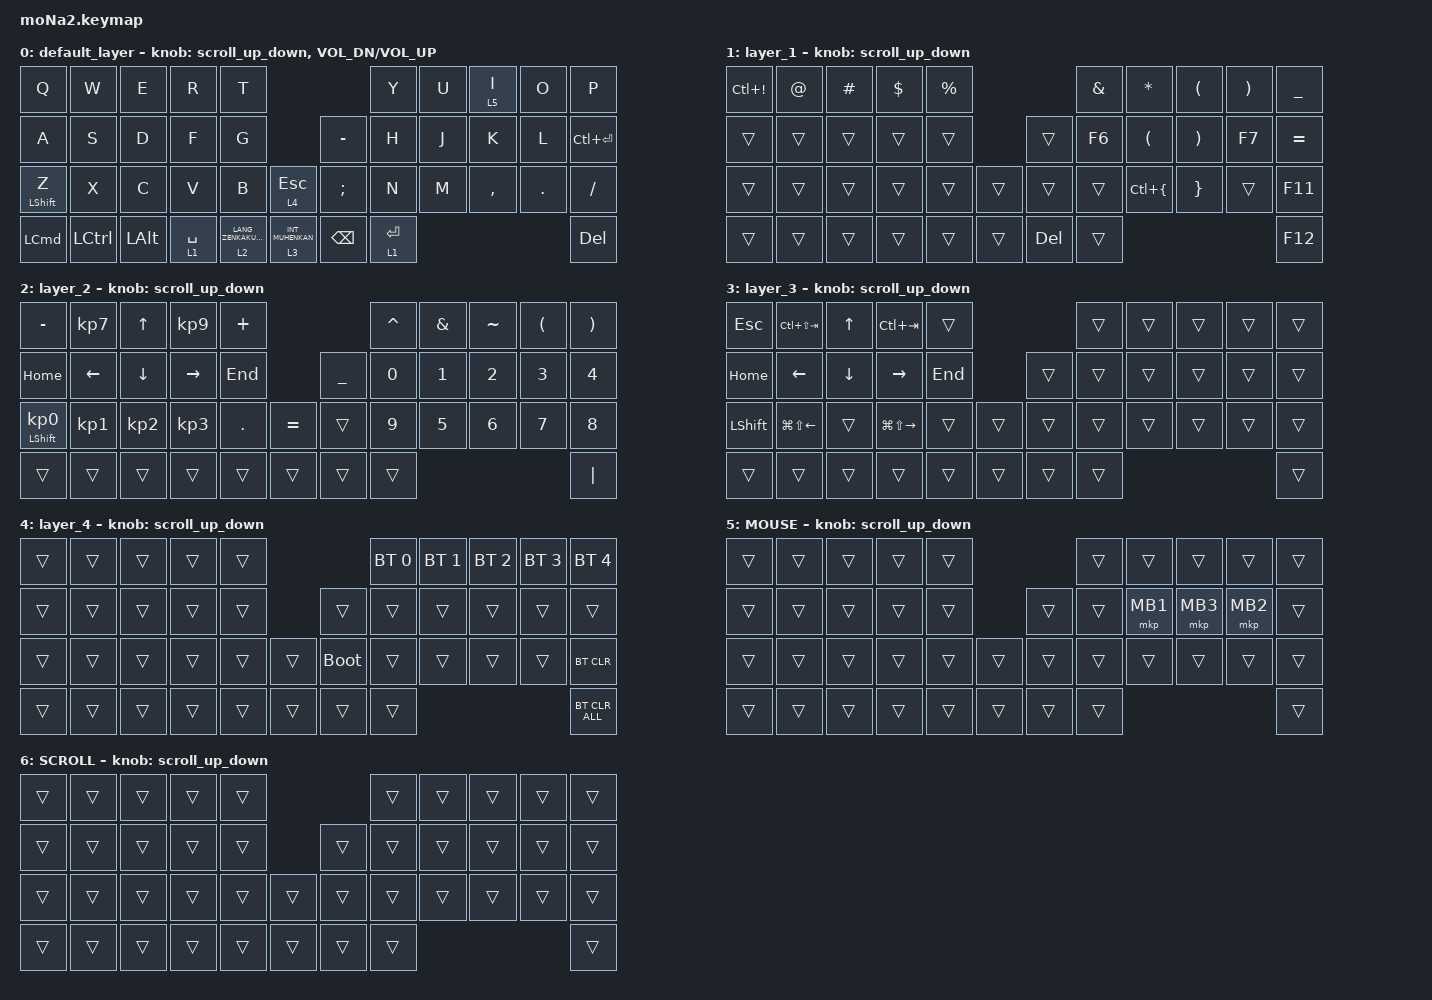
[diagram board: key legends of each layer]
#include <behaviors.dtsi>
#include <dt-bindings/zmk/bt.h>
#include <dt-bindings/zmk/keys.h>
#include <dt-bindings/zmk/pointing.h>

#define ZMK_POINTING_DEFAULT_SCRL_VAL 100
#define MOUSE 5
#define SCROLL 6

&mt {
    flavor = "balanced";
    quick-tap-ms = <0>;
};

/ {
    combos { compatible = "zmk,combos"; };

    macros {
        to_layer_0: to_layer_0 {
            compatible = "zmk,behavior-macro-one-param";
            #binding-cells = <1>;
            bindings = <&to 0 &macro_param_1to1 &kp MACRO_PLACEHOLDER>;
            label = "TO_LAYER_0";
        };
    };

    behaviors {
        lt_to_layer_0: lt_to_layer_0 {
            compatible = "zmk,behavior-hold-tap";
            label = "LAYER_TAP_TO_0";
            bindings = <&mo>, <&to_layer_0>;

            #binding-cells = <2>;
            tapping-term-ms = <200>;
        };

        scroll_up_down: behavior_sensor_rotate_mouse_wheel_up_down {
            compatible = "zmk,behavior-sensor-rotate";
            #sensor-binding-cells = <0>;
            bindings = <&msc SCRL_UP>, <&msc SCRL_DOWN>;

            tap-ms = <20>;
        };
    };

    keymap {
        compatible = "zmk,keymap";

        default_layer {
            bindings = <
&kp Q             &kp W             &kp E         &kp R        &kp T                                                           &kp Y        &kp U  &lt 5 I    &kp O    &kp P
&kp A             &kp S             &kp D         &kp F        &kp G                                            &kp MINUS      &kp H        &kp J  &kp K      &kp L    &kp LC(ENTER)
&mt LEFT_SHIFT Z  &kp X             &kp C         &kp V        &kp B                      &lt 4 ESCAPE          &kp SEMICOLON  &kp N        &kp M  &kp COMMA  &kp DOT  &kp SLASH
&kp LEFT_COMMAND  &kp LEFT_CONTROL  &kp LEFT_ALT  &lt 1 SPACE  &lt 2 LANG_ZENKAKUHANKAKU  &lt 3 INT_MUHENKAN    &kp BACKSPACE  &lt 1 ENTER                             &kp DEL
            >;

            sensor-bindings =
                <&scroll_up_down>,
                <&inc_dec_kp C_VOL_DN C_VOL_UP>;
        };

        layer_1 {
            bindings = <
&kp LC(EXCLAMATION)  &kp AT_SIGN  &kp HASH  &kp DOLLAR  &kp PERCENT                        &kp AMPERSAND  &kp ASTERISK          &kp LEFT_PARENTHESIS   &kp RIGHT_PARENTHESIS  &kp UNDERSCORE
&trans               &trans       &trans    &trans      &trans                 &trans      &kp F6         &kp LEFT_PARENTHESIS  &kp RIGHT_PARENTHESIS  &kp F7                 &kp EQUAL
&trans               &trans       &trans    &trans      &trans       &trans    &trans      &trans         &kp LC(LEFT_BRACE)    &kp RIGHT_BRACE        &trans                 &kp F11
&trans               &trans       &trans    &trans      &trans       &trans    &kp DELETE  &trans                                                                             &kp F12
            >;

            sensor-bindings = <&scroll_up_down>;
        };

        layer_2 {
            bindings = <
&kp MINUS                   &kp KP_NUMBER_7  &kp UP_ARROW     &kp KP_NUMBER_9  &kp PLUS                                 &kp CARET     &kp AMPERSAND  &kp TILDE     &kp LEFT_PARENTHESIS  &kp RIGHT_PARENTHESIS
&kp HOME                    &kp LEFT_ARROW   &kp DOWN_ARROW   &kp RIGHT_ARROW  &kp END                  &kp UNDERSCORE  &kp NUMBER_0  &kp NUMBER_1   &kp NUMBER_2  &kp NUMBER_3          &kp NUMBER_4
&mt LEFT_SHIFT KP_NUMBER_0  &kp KP_NUMBER_1  &kp KP_NUMBER_2  &kp KP_NUMBER_3  &kp PERIOD  &kp EQUAL    &trans          &kp NUMBER_9  &kp NUMBER_5   &kp NUMBER_6  &kp NUMBER_7          &kp NUMBER_8
&trans                      &trans           &trans           &trans           &trans      &trans       &trans          &trans                                                           &kp PIPE
            >;

            sensor-bindings = <&scroll_up_down>;
        };

        layer_3 {
            bindings = <
&kp ESCAPE      &kp LC(LS(TAB))         &kp UP_ARROW    &kp LC(TAB)              &trans                     &trans  &trans  &trans  &trans  &trans
&kp HOME        &kp LEFT_ARROW          &kp DOWN_ARROW  &kp RIGHT_ARROW          &kp END            &trans  &trans  &trans  &trans  &trans  &trans
&kp LEFT_SHIFT  &kp LG(LS(LEFT_ARROW))  &trans          &kp LG(LS(RIGHT_ARROW))  &trans   &trans    &trans  &trans  &trans  &trans  &trans  &trans
&trans          &trans                  &trans          &trans                   &trans   &trans    &trans  &trans                          &trans
            >;

            sensor-bindings = <&scroll_up_down>;
        };

        layer_4 {
            bindings = <
&trans  &trans  &trans  &trans  &trans                         &bt BT_SEL 0  &bt BT_SEL 1  &bt BT_SEL 2  &bt BT_SEL 3  &bt BT_SEL 4
&trans  &trans  &trans  &trans  &trans            &trans       &trans        &trans        &trans        &trans        &trans
&trans  &trans  &trans  &trans  &trans  &trans    &bootloader  &trans        &trans        &trans        &trans        &bt BT_CLR
&trans  &trans  &trans  &trans  &trans  &trans    &trans       &trans                                                  &bt BT_CLR_ALL
            >;

            sensor-bindings = <&scroll_up_down>;
        };

        MOUSE {
            bindings = <
&trans  &trans  &trans  &trans  &trans                    &trans  &trans    &trans    &trans    &trans
&trans  &trans  &trans  &trans  &trans            &trans  &trans  &mkp MB1  &mkp MB3  &mkp MB2  &trans
&trans  &trans  &trans  &trans  &trans  &trans    &trans  &trans  &trans    &trans    &trans    &trans
&trans  &trans  &trans  &trans  &trans  &trans    &trans  &trans                                &trans
            >;

            sensor-bindings = <&scroll_up_down>;
        };

        SCROLL {
            bindings = <
&trans  &trans  &trans  &trans  &trans                    &trans  &trans  &trans  &trans  &trans
&trans  &trans  &trans  &trans  &trans            &trans  &trans  &trans  &trans  &trans  &trans
&trans  &trans  &trans  &trans  &trans  &trans    &trans  &trans  &trans  &trans  &trans  &trans
&trans  &trans  &trans  &trans  &trans  &trans    &trans  &trans                          &trans
            >;

            sensor-bindings = <&scroll_up_down>;
        };
    };
};
